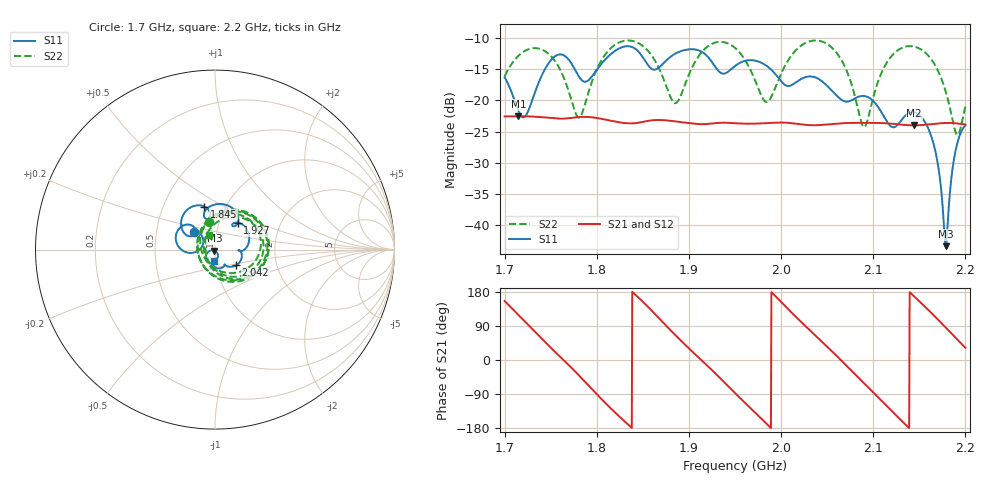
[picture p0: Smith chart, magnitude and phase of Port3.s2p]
# Hz S RI R 50
! CMT, CMT808U, 21440046, 21.4.3/4
! Date: 6/12/2026 9:25:24 AM
! Data: Format (Calibration Info)
! Freq	S11:Re/Im(F2)	S41:Re/Im(F2)	S14:Re/Im(F2)	S44:Re/Im(F2)
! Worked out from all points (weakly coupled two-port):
!   1001 points, 1.7 GHz to 2.2 GHz, reference 50 ohm
!   highest |S21| = -22.53 dB at 1.715 GHz (marker M1); lowest = -24.0 dB at 2.144 GHz (marker M2)
!   lowest |S11| = -43.3 dB at 2.179 GHz (marker M3), VSWR 1.01, Z = 49.7 - j0.6 ohm
!   |S11| at or under -10 dB: start of sweep to end of sweep
!   |S22| runs from -25.5 to -10.4 dB; largest |S21 - S12| = 0.0012
!   S11 on the Smith chart (normalised r, x): 1.7 GHz: 0.78, +0.16; 1.845 GHz: 0.80, +0.41; 1.927 GHz: 1.23, +0.37; 2.042 GHz: 1.24, -0.22; 2.2 GHz: 0.98, -0.12
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1.7e9  -0.1152 0.1008  -0.0678 0.0307  -0.068 0.0296  -0.0345 0.1519
1.715e9  -0.0647 0.0514  -0.036 0.0655  -0.0368 0.0647  0.1077 0.2005
1.7565e9  -0.2186 0.0704  0.0685 0.0212  0.0679 0.0221  0.1594 -0.1161
1.7835e9  -0.107 0.0989  0.0495 -0.0548  0.0501 -0.0538  -0.0773 0.00149
1.813e9  -0.1877 0.1275  -0.0371 -0.0586  -0.0361 -0.059  0.1191 0.2223
1.845e9  -0.0587 0.2399  -0.0642 0.0167  -0.0642 0.0157  0.2813 -0.0619
1.867e9  -0.0542 0.1741  -0.0255 0.0649  -0.0264 0.0643  0.0566 -0.1752
1.886e9  -0.0355 0.236  0.0298 0.061  0.0287 0.0613  -0.0951 -0.00562
1.927e9  0.1258 0.1466  0.0561 -0.0341  0.0565 -0.0331  0.2513 0.1403
1.95e9  0.1134 0.1505  0.00308 -0.0656  0.00419 -0.0654  0.2395 -0.1092
1.9845e9  0.1859 0.0327  -0.0646 -0.0129  -0.0642 -0.0139  -0.0949 -0.0204
2.01e9  0.1313 -0.00222  -0.0411 0.0516  -0.0418 0.0507  0.0583 0.2147
2.0335e9  0.1424 -0.0619  0.0181 0.0607  0.017 0.0609  0.2836 0.0981
2.042e9  0.1174 -0.0879  0.0373 0.0514  0.0364 0.052  0.2992 0.00468
2.067e9  0.0542 -0.0838  0.0655 -0.006  0.0654 -0.0049  0.114 -0.1655
2.09e9  0.0312 -0.1039  0.0316 -0.0581  0.0326 -0.0575  -0.0608 -0.0078
2.117e9  -0.0114 -0.0634  -0.0398 -0.0519  -0.0389 -0.0525  0.1093 0.1826
2.1445e9  -0.0329 -0.0734  -0.0618 0.0135  -0.0619 0.0124  0.2694 -0.00422
2.166e9  -0.0406 -0.0153  -0.0296 0.0578  -0.0306 0.0572  0.1291 -0.1496
2.1785e9  -0.00318 -0.00604  0.00448 0.0659  0.00332 0.0659  0.00864 -0.1184
2.1905e9  0.016 -0.0402  0.0369 0.0542  0.0359 0.0548  -0.0518 -0.0134
2.2e9  -0.00816 -0.0625  0.0542 0.0343  0.0536 0.0353  -0.0351 0.0827
